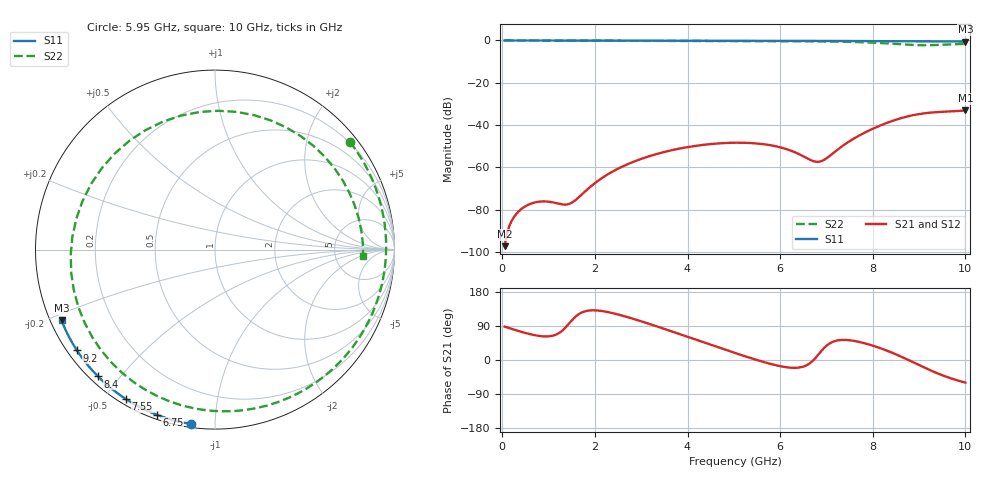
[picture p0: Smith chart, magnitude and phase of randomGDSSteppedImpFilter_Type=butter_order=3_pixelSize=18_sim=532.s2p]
! freq	dB(S11)	phase(S11)	dB(S12)	phase(S12)
!  dB(S21)	phase(S21)	dB(S22)	phase(S22)
!S-par simulation data
#  GHz  S  DB  R 50
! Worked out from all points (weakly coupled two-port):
!   200 points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, 50 MHz to 10 GHz, reference 50 ohm
!   highest |S21| = -33.13 dB at 10 GHz (marker M1); lowest = -97.3 dB at 50 MHz (marker M2)
!   lowest |S11| = -0.5 dB at 10 GHz (marker M3), VSWR 33.28, Z = 1.57 - j11 ohm
!   |S11| at or under -10 dB: nowhere
!   |S22| runs from -2.3 to 0.0 dB; largest |S21 - S12| = 0
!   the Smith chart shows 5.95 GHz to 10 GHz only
!   S11 on the Smith chart (normalised r, x): 5.95 GHz: 0.02, -0.87; 6.75 GHz: 0.02, -0.71; 7.55 GHz: 0.02, -0.57; 8.4 GHz: 0.02, -0.44; 9.2 GHz: 0.03, -0.33; 10 GHz: 0.03, -0.22
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0.05  -0.00 -0.9  -97.32 88.0  -97.32 88.0  -0.00 -3.2
0.45  -0.01 -8.0  -79.12 73.0  -79.12 73.0  -0.04 -27.9
0.95  -0.02 -16.9  -76.18 62.1  -76.18 62.1  -0.07 -58.1
1.4  -0.03 -24.8  -77.57 90.4  -77.57 90.4  -0.10 -84.0
1.75  -0.04 -30.9  -72.19 127.0  -72.19 127.0  -0.12 -103.3
2.6  -0.06 -45.4  -59.60 116.8  -59.60 116.8  -0.16 -147.3
3.4  -0.08 -58.6  -53.32 86.2  -53.32 86.2  -0.20 173.1
4.35  -0.11 -73.8  -49.36 46.5  -49.36 46.5  -0.24 125.6
5.05  -0.13 -84.5  -48.37 17.5  -48.37 17.5  -0.28 88.9
5.95  -0.17 -97.9  -50.28 -14.9  -50.28 -14.9  -0.34 38.5
6.7  -0.21 -108.8  -56.97 -2.6  -56.97 -2.6  -0.43 -6.3
6.75  -0.22 -109.5  -57.29 3.6  -57.29 3.6  -0.44 -9.4
7.15  -0.24 -115.2  -53.21 48.6  -53.21 48.6  -0.54 -35.3
7.55  -0.27 -120.8  -46.96 51.3  -46.96 51.3  -0.71 -63.8
8  -0.31 -127.1  -41.78 37.9  -41.78 37.9  -1.03 -101.6
8.35  -0.34 -132.0  -38.63 22.5  -38.63 22.5  -1.44 -138.5
8.4  -0.34 -132.7  -38.24 20.1  -38.24 20.1  -1.51 -144.5
8.6  -0.36 -135.5  -36.82 9.5  -36.82 9.5  -1.81 -170.7
8.8  -0.38 -138.2  -35.68 -1.8  -35.68 -1.8  -2.09 159.8
9.2  -0.43 -143.9  -34.24 -24.8  -34.24 -24.8  -2.25 96.3
9.6  -0.47 -149.5  -33.64 -44.7  -33.64 -44.7  -1.93 40.3
10  -0.52 -155.3  -33.13 -59.6  -33.13 -59.6  -1.66 -2.3
